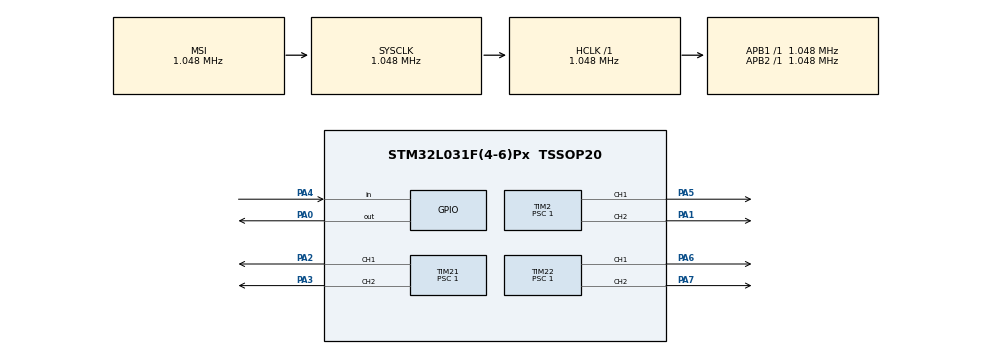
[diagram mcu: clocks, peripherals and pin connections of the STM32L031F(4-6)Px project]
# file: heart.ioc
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FREERTOS.HEAP_NUMBER=1
FREERTOS.INCLUDE_uxTaskGetStackHighWaterMark=1
FREERTOS.MEMORY_ALLOCATION=0
FREERTOS.Tasks01=button,0,64,buttonTask,Default,NULL,Dynamic,NULL,NULL;patternManager,1,64,patternManagerTask,Default,NULL,Dynamic,NULL,NULL;pattern1,0,64,pattern1Task,Default,NULL,Dynamic,NULL,NULL;pattern2,0,64,pattern2Task,Default,NULL,Dynamic,NULL,NULL;pattern3,0,64,pattern3Task,Default,NULL,Dynamic,NULL,NULL
FREERTOS.configMINIMAL_STACK_SIZE=64
FREERTOS.configTOTAL_HEAP_SIZE=3072
Mcu.Family=STM32L0
Mcu.Name=STM32L031F(4-6)Px
Mcu.Package=TSSOP20
PA0-CK_IN.Signal=GPIO_Output
PA1.Signal=S_TIM2_CH2
PA13.Mode=Serial_Wire
PA13.Signal=SYS_SWDIO
PA14.Mode=Serial_Wire
PA14.Signal=SYS_SWCLK
PA2.Signal=S_TIM21_CH1
PA3.Signal=S_TIM21_CH2
PA4.GPIO_PuPd=GPIO_PULLUP
PA4.Signal=GPIO_Input
PA5.Signal=S_TIM2_CH1
PA6.Signal=S_TIM22_CH1
PA7.Signal=S_TIM22_CH2
ProjectManager.HeapSize=0x200
ProjectManager.StackSize=0x400
ProjectManager.TargetToolchain=SW4STM32
RCC.AHBFreq_Value=1048000
RCC.APB1Freq_Value=1048000
RCC.APB1TimFreq_Value=1048000
RCC.APB2Freq_Value=1048000
RCC.APB2TimFreq_Value=1048000
RCC.HCLKFreq_Value=1048000
RCC.HSE_VALUE=8000000
RCC.HSI16_VALUE=16000000
RCC.HSI_VALUE=16000000
RCC.LSE_VALUE=32768
RCC.MSIClockRange=RCC_MSIRANGE_4
RCC.MSI_VALUE=1048000
RCC.SYSCLKFreq_VALUE=1048000
RCC.VCOOutputFreq_Value=48000000
SH.S_TIM21_CH1.0=TIM21_CH1,PWM Generation1 CH1
SH.S_TIM21_CH2.0=TIM21_CH2,PWM Generation2 CH2
SH.S_TIM22_CH1.0=TIM22_CH1,PWM Generation1 CH1
SH.S_TIM22_CH2.0=TIM22_CH2,PWM Generation2 CH2
SH.S_TIM2_CH1.0=TIM2_CH1,PWM Generation1 CH1
SH.S_TIM2_CH2.0=TIM2_CH2,PWM Generation2 CH2
TIM2.Channel-PWM\ Generation1\ CH1=TIM_CHANNEL_1
TIM2.Channel-PWM\ Generation2\ CH2=TIM_CHANNEL_2
TIM2.Period=255
TIM2.Prescaler=1
TIM2.Pulse-PWM\ Generation1\ CH1=64
TIM2.Pulse-PWM\ Generation2\ CH2=64
TIM21.Channel-PWM\ Generation1\ CH1=TIM_CHANNEL_1
TIM21.Channel-PWM\ Generation2\ CH2=TIM_CHANNEL_2
TIM21.Period=255
TIM21.Prescaler=1
TIM21.Pulse-PWM\ Generation1\ CH1=64
TIM21.Pulse-PWM\ Generation2\ CH2=64
TIM22.Channel-PWM\ Generation1\ CH1=TIM_CHANNEL_1
TIM22.Channel-PWM\ Generation2\ CH2=TIM_CHANNEL_2
TIM22.Period=255
TIM22.Prescaler=1
TIM22.Pulse-PWM\ Generation1\ CH1=64
TIM22.Pulse-PWM\ Generation2\ CH2=64
VP_FREERTOS_VS_ENABLE.Mode=Enabled
board=heart

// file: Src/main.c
/**
  ******************************************************************************
  * @file           : main.c
  * @brief          : Main program body
  ******************************************************************************
  * This notice applies to any and all portions of this file
  * that are not between comment pairs USER CODE BEGIN and
  * USER CODE END. Other portions of this file, whether
  * inserted by the user or by software development tools
  * are owned by their respective copyright owners.
  *
  * Copyright (c) 2018 STMicroelectronics International N.V.
  * All rights reserved.
  *
  * Redistribution and use in source and binary forms, with or without
  * modification, are permitted, provided that the following conditions are met:
  *
  * 1. Redistribution of source code must retain the above copyright notice,
  *    this list of conditions and the following disclaimer.
  * 2. Redistributions in binary form must reproduce the above copyright notice,
  *    this list of conditions and the following disclaimer in the documentation
  *    and/or other materials provided with the distribution.
  * 3. Neither the name of STMicroelectronics nor the names of other
  *    contributors to this software may be used to endorse or promote products
  *    derived from this software without specific written permission.
  * 4. This software, including modifications and/or derivative works of this
  *    software, must execute solely and exclusively on microcontroller or
  *    microprocessor devices manufactured by or for STMicroelectronics.
  * 5. Redistribution and use of this software other than as permitted under
  *    this license is void and will automatically terminate your rights under
  *    this license.
  *
  * THIS SOFTWARE IS PROVIDED BY STMICROELECTRONICS AND CONTRIBUTORS "AS IS"
  * AND ANY EXPRESS, IMPLIED OR STATUTORY WARRANTIES, INCLUDING, BUT NOT
  * LIMITED TO, THE IMPLIED WARRANTIES OF MERCHANTABILITY, FITNESS FOR A
  * PARTICULAR PURPOSE AND NON-INFRINGEMENT OF THIRD PARTY INTELLECTUAL PROPERTY
  * RIGHTS ARE DISCLAIMED TO THE FULLEST EXTENT PERMITTED BY LAW. IN NO EVENT
  * SHALL STMICROELECTRONICS OR CONTRIBUTORS BE LIABLE FOR ANY DIRECT, INDIRECT,
  * INCIDENTAL, SPECIAL, EXEMPLARY, OR CONSEQUENTIAL DAMAGES (INCLUDING, BUT NOT
  * LIMITED TO, PROCUREMENT OF SUBSTITUTE GOODS OR SERVICES; LOSS OF USE, DATA,
  * OR PROFITS; OR BUSINESS INTERRUPTION) HOWEVER CAUSED AND ON ANY THEORY OF
  * LIABILITY, WHETHER IN CONTRACT, STRICT LIABILITY, OR TORT (INCLUDING
  * NEGLIGENCE OR OTHERWISE) ARISING IN ANY WAY OUT OF THE USE OF THIS SOFTWARE,
  * EVEN IF ADVISED OF THE POSSIBILITY OF SUCH DAMAGE.
  *
  ******************************************************************************
  */
#include "main.h"
#include "stm32l0xx_hal.h"
#include "cmsis_os.h"
#include "tim.h"
#include "gpio.h"

/* USER CODE BEGIN PV */
/* Private variables ---------------------------------------------------------*/

/* USER CODE END PV */

void SystemClock_Config(void);
void MX_FREERTOS_Init(void);

/* USER CODE BEGIN PFP */
/* Private function prototypes -----------------------------------------------*/

/* USER CODE END PFP */

int main(void)
{

  /* MCU Configuration----------------------------------------------------------*/

  /* Reset of all peripherals, Initializes the Flash interface and the Systick. */
  HAL_Init();

  /* Configure the system clock */
  SystemClock_Config();

  /* Initialize all configured peripherals */
  MX_GPIO_Init();
  MX_TIM2_Init();
  MX_TIM21_Init();
  MX_TIM22_Init();
  /* USER CODE BEGIN 2 */

    /* Initialise all the PWM timers */
  HAL_TIM_PWM_Start(&htim2, TIM_CHANNEL_1);
  HAL_TIM_PWM_Start(&htim2, TIM_CHANNEL_2);
  HAL_TIM_PWM_Start(&htim2, TIM_CHANNEL_3);
  HAL_TIM_PWM_Start(&htim21, TIM_CHANNEL_1);
  HAL_TIM_PWM_Start(&htim21, TIM_CHANNEL_2);
  HAL_TIM_PWM_Start(&htim22, TIM_CHANNEL_1);
  HAL_TIM_PWM_Start(&htim22, TIM_CHANNEL_2);

  /* USER CODE END 2 */

  /* Call init function for freertos objects (in freertos.c) */
  MX_FREERTOS_Init();

  /* Start scheduler */
  osKernelStart();

  /* We should never get here as control is now taken by the scheduler */

  /* Infinite loop */
  while (1)
  {

  }

}

void SystemClock_Config(void)
{

  RCC_OscInitTypeDef RCC_OscInitStruct;
  RCC_ClkInitTypeDef RCC_ClkInitStruct;

    /**Configure the main internal regulator output voltage
    */
  __HAL_PWR_VOLTAGESCALING_CONFIG(PWR_REGULATOR_VOLTAGE_SCALE1);

    /**Initializes the CPU, AHB and APB busses clocks
    */
  RCC_OscInitStruct.OscillatorType = RCC_OSCILLATORTYPE_MSI;
  RCC_OscInitStruct.MSIState = RCC_MSI_ON;
  RCC_OscInitStruct.MSICalibrationValue = 0;
  RCC_OscInitStruct.MSIClockRange = RCC_MSIRANGE_4;
  RCC_OscInitStruct.PLL.PLLState = RCC_PLL_NONE;
  if (HAL_RCC_OscConfig(&RCC_OscInitStruct) != HAL_OK)
  {
    _Error_Handler(__FILE__, __LINE__);
  }

    /**Initializes the CPU, AHB and APB busses clocks
    */
  RCC_ClkInitStruct.ClockType = RCC_CLOCKTYPE_HCLK|RCC_CLOCKTYPE_SYSCLK
                              |RCC_CLOCKTYPE_PCLK1|RCC_CLOCKTYPE_PCLK2;
  RCC_ClkInitStruct.SYSCLKSource = RCC_SYSCLKSOURCE_MSI;
  RCC_ClkInitStruct.AHBCLKDivider = RCC_SYSCLK_DIV1;
  RCC_ClkInitStruct.APB1CLKDivider = RCC_HCLK_DIV1;
  RCC_ClkInitStruct.APB2CLKDivider = RCC_HCLK_DIV1;

  if (HAL_RCC_ClockConfig(&RCC_ClkInitStruct, FLASH_LATENCY_0) != HAL_OK)
  {
    _Error_Handler(__FILE__, __LINE__);
  }

    /**Configure the Systick interrupt time
    */
  HAL_SYSTICK_Config(HAL_RCC_GetHCLKFreq()/1000);

    /**Configure the Systick
    */
  HAL_SYSTICK_CLKSourceConfig(SYSTICK_CLKSOURCE_HCLK);

  /* SysTick_IRQn interrupt configuration */
  HAL_NVIC_SetPriority(SysTick_IRQn, 3, 0);
}

void _Error_Handler(char *file, int line)
{
  while(1)
  {
  }
}

/************************ (C) COPYRIGHT STMicroelectronics *****END OF FILE****/

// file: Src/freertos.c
/**
  ******************************************************************************
  * File Name          : freertos.c
  * Description        : Code for freertos applications
  ******************************************************************************
  * This notice applies to any and all portions of this file
  * that are not between comment pairs USER CODE BEGIN and
  * USER CODE END. Other portions of this file, whether
  * inserted by the user or by software development tools
  * are owned by their respective copyright owners.
  *
  * Copyright (c) 2018 STMicroelectronics International N.V.
  * All rights reserved.
  *
  * Redistribution and use in source and binary forms, with or without
  * modification, are permitted, provided that the following conditions are met:
  *
  * 1. Redistribution of source code must retain the above copyright notice,
  *    this list of conditions and the following disclaimer.
  * 2. Redistributions in binary form must reproduce the above copyright notice,
  *    this list of conditions and the following disclaimer in the documentation
  *    and/or other materials provided with the distribution.
  * 3. Neither the name of STMicroelectronics nor the names of other
  *    contributors to this software may be used to endorse or promote products
  *    derived from this software without specific written permission.
  * 4. This software, including modifications and/or derivative works of this
  *    software, must execute solely and exclusively on microcontroller or
  *    microprocessor devices manufactured by or for STMicroelectronics.
  * 5. Redistribution and use of this software other than as permitted under
  *    this license is void and will automatically terminate your rights under
  *    this license.
  *
  * THIS SOFTWARE IS PROVIDED BY STMICROELECTRONICS AND CONTRIBUTORS "AS IS"
  * AND ANY EXPRESS, IMPLIED OR STATUTORY WARRANTIES, INCLUDING, BUT NOT
  * LIMITED TO, THE IMPLIED WARRANTIES OF MERCHANTABILITY, FITNESS FOR A
  * PARTICULAR PURPOSE AND NON-INFRINGEMENT OF THIRD PARTY INTELLECTUAL PROPERTY
  * RIGHTS ARE DISCLAIMED TO THE FULLEST EXTENT PERMITTED BY LAW. IN NO EVENT
  * SHALL STMICROELECTRONICS OR CONTRIBUTORS BE LIABLE FOR ANY DIRECT, INDIRECT,
  * INCIDENTAL, SPECIAL, EXEMPLARY, OR CONSEQUENTIAL DAMAGES (INCLUDING, BUT NOT
  * LIMITED TO, PROCUREMENT OF SUBSTITUTE GOODS OR SERVICES; LOSS OF USE, DATA,
  * OR PROFITS; OR BUSINESS INTERRUPTION) HOWEVER CAUSED AND ON ANY THEORY OF
  * LIABILITY, WHETHER IN CONTRACT, STRICT LIABILITY, OR TORT (INCLUDING
  * NEGLIGENCE OR OTHERWISE) ARISING IN ANY WAY OUT OF THE USE OF THIS SOFTWARE,
  * EVEN IF ADVISED OF THE POSSIBILITY OF SUCH DAMAGE.
  *
  ******************************************************************************
  */

#include "FreeRTOS.h"
#include "task.h"
#include "cmsis_os.h"

/* USER CODE BEGIN Includes */
#include "gpio.h"
#include "tim.h"
#include "main.h"
#include <stdbool.h>
#include "eeprom.h"

#define EV_PRESSED_BIT ( 1 << 0 )
/* Pattern bits in the group event, allows for 7 patterns. */
#define EV_PATTERN_BIT_1 ( 1 << 1 )
#define EV_PATTERN_BIT_2 ( 1 << 2 )
#define EV_PATTERN_BIT_3 ( 1 << 3 )
#define EV_PATTERN_CHANGE_BIT ( 1 << 4 )
/* The above bits that define the pattern */
#define PATTERN_BIT_MASK 0b0001110

/* USER CODE END Includes */

osThreadId buttonHandle;
osThreadId patternManagerHandle;
osThreadId pattern1Handle;
osThreadId pattern2Handle;
osThreadId pattern3Handle;

/* USER CODE BEGIN Variables */

TaskHandle_t current_pattern;

/* Declare a variable to hold the handle of the created event group. */
EventGroupHandle_t xEventGroupHandle;

  /* Sine wave table */
  const uint8_t sine_wave[256] = {
    0x80, 0x83, 0x86, 0x89, 0x8C, 0x90, 0x93, 0x96,
    0x99, 0x9C, 0x9F, 0xA2, 0xA5, 0xA8, 0xAB, 0xAE,
    0xB1, 0xB3, 0xB6, 0xB9, 0xBC, 0xBF, 0xC1, 0xC4,
    0xC7, 0xC9, 0xCC, 0xCE, 0xD1, 0xD3, 0xD5, 0xD8,
    0xDA, 0xDC, 0xDE, 0xE0, 0xE2, 0xE4, 0xE6, 0xE8,
    0xEA, 0xEB, 0xED, 0xEF, 0xF0, 0xF1, 0xF3, 0xF4,
    0xF5, 0xF6, 0xF8, 0xF9, 0xFA, 0xFA, 0xFB, 0xFC,
    0xFD, 0xFD, 0xFE, 0xFE, 0xFE, 0xFF, 0xFF, 0xFF,
    0xFF, 0xFF, 0xFF, 0xFF, 0xFE, 0xFE, 0xFE, 0xFD,
    0xFD, 0xFC, 0xFB, 0xFA, 0xFA, 0xF9, 0xF8, 0xF6,
    0xF5, 0xF4, 0xF3, 0xF1, 0xF0, 0xEF, 0xED, 0xEB,
    0xEA, 0xE8, 0xE6, 0xE4, 0xE2, 0xE0, 0xDE, 0xDC,
    0xDA, 0xD8, 0xD5, 0xD3, 0xD1, 0xCE, 0xCC, 0xC9,
    0xC7, 0xC4, 0xC1, 0xBF, 0xBC, 0xB9, 0xB6, 0xB3,
    0xB1, 0xAE, 0xAB, 0xA8, 0xA5, 0xA2, 0x9F, 0x9C,
    0x99, 0x96, 0x93, 0x90, 0x8C, 0x89, 0x86, 0x83,
    0x80, 0x7D, 0x7A, 0x77, 0x74, 0x70, 0x6D, 0x6A,
    0x67, 0x64, 0x61, 0x5E, 0x5B, 0x58, 0x55, 0x52,
    0x4F, 0x4D, 0x4A, 0x47, 0x44, 0x41, 0x3F, 0x3C,
    0x39, 0x37, 0x34, 0x32, 0x2F, 0x2D, 0x2B, 0x28,
    0x26, 0x24, 0x22, 0x20, 0x1E, 0x1C, 0x1A, 0x18,
    0x16, 0x15, 0x13, 0x11, 0x10, 0x0F, 0x0D, 0x0C,
    0x0B, 0x0A, 0x08, 0x07, 0x06, 0x06, 0x05, 0x04,
    0x03, 0x03, 0x02, 0x02, 0x02, 0x01, 0x01, 0x01,
    0x01, 0x01, 0x01, 0x01, 0x02, 0x02, 0x02, 0x03,
    0x03, 0x04, 0x05, 0x06, 0x06, 0x07, 0x08, 0x0A,
    0x0B, 0x0C, 0x0D, 0x0F, 0x10, 0x11, 0x13, 0x15,
    0x16, 0x18, 0x1A, 0x1C, 0x1E, 0x20, 0x22, 0x24,
    0x26, 0x28, 0x2B, 0x2D, 0x2F, 0x32, 0x34, 0x37,
    0x39, 0x3C, 0x3F, 0x41, 0x44, 0x47, 0x4A, 0x4D,
    0x4F, 0x52, 0x55, 0x58, 0x5B, 0x5E, 0x61, 0x64,
    0x67, 0x6A, 0x6D, 0x70, 0x74, 0x77, 0x7A, 0x7D
  };

/* USER CODE END Variables */

void buttonTask(void const * argument);
void patternManagerTask(void const * argument);
TaskHandle_t patternSelect(uint8_t pattern);
void pattern1Task(void const * argument);
void pattern2Task(void const * argument);
void pattern3Task(void const * argument);

void MX_FREERTOS_Init(void); /* (MISRA C 2004 rule 8.1) */

/* USER CODE BEGIN FunctionPrototypes */
bool buttonPressed(void);

/* USER CODE END FunctionPrototypes */

/* Hook prototypes */

/* Init FreeRTOS */

void MX_FREERTOS_Init(void) {
  /* USER CODE BEGIN Init */

  /* Attempt to create the event group. */
  xEventGroupHandle = xEventGroupCreate();

  /* USER CODE END Init */

  /* Create the thread(s) */
  /* definition and creation of button */
  osThreadDef(button, buttonTask, osPriorityNormal, 0, 64);
  buttonHandle = osThreadCreate(osThread(button), NULL);

  /* definition and creation of patternManager */
  osThreadDef(patternManager, patternManagerTask, osPriorityAboveNormal, 0, 64);
  patternManagerHandle = osThreadCreate(osThread(patternManager), NULL);

  /* definition and creation of pattern1 */
  osThreadDef(pattern1, pattern1Task, osPriorityNormal, 0, 64);
  pattern1Handle = osThreadCreate(osThread(pattern1), NULL);

  /* definition and creation of pattern2 */
  osThreadDef(pattern2, pattern2Task, osPriorityNormal, 0, 64);
  pattern2Handle = osThreadCreate(osThread(pattern2), NULL);

  /* definition and creation of pattern3 */
  osThreadDef(pattern3, pattern3Task, osPriorityNormal, 0, 64);
  pattern3Handle = osThreadCreate(osThread(pattern3), NULL);

}

/* buttonTask function */
void buttonTask(void const * argument)
{

  /* USER CODE BEGIN buttonTask */

  /* Count the button presses up to the number of possible tasks. */
  uint8_t count = 0;
  bool pressed = 0;
  bool button_state = 0;

  for(;;) {
    /* Set / unset the event bit depending on the state of the button */
    pressed = buttonPressed();
    /* Only act on an edge */
    if (button_state != pressed) {
      button_state = pressed;
      if (!pressed) {
        /* Clear the pressed bit */
        xEventGroupClearBits(xEventGroupHandle, EV_PRESSED_BIT);
      } else {
        count++;
        if (count > 2) {
         count = 0;
        }

        /* Clear all pattern bits */
        xEventGroupClearBits(xEventGroupHandle, EV_PATTERN_BIT_3 | EV_PATTERN_BIT_2 | EV_PATTERN_BIT_1);
        switch (count) {
          case 1:
            xEventGroupSetBits(xEventGroupHandle, EV_PATTERN_CHANGE_BIT | EV_PATTERN_BIT_2 | EV_PRESSED_BIT);
            break;
          case 2:
            xEventGroupSetBits(xEventGroupHandle, EV_PATTERN_CHANGE_BIT | EV_PATTERN_BIT_2 | EV_PATTERN_BIT_1 | EV_PRESSED_BIT);
            break;
          default:
            /* Use the default */
            xEventGroupSetBits(xEventGroupHandle, EV_PATTERN_CHANGE_BIT | EV_PATTERN_BIT_1 | EV_PRESSED_BIT);
            break;
        }
      }
    }

    /* Kludge to start the pattern going */
    vTaskResume( current_pattern );

    osDelay(20);
  }
  /* USER CODE END buttonTask */
}

/* patternManagerTask function */
void patternManagerTask(void const * argument)
{
  /* USER CODE BEGIN patternManagerTask */

  EventBits_t bits;
  uint8_t pattern = (uint8_t) EEPROM_DataLoad(0);
  current_pattern = patternSelect(pattern);

  /* Infinite loop */
  for(;;) {
    /* Wait for the change pattern bit, then clear it */
    bits = xEventGroupWaitBits(
            xEventGroupHandle,
            EV_PATTERN_CHANGE_BIT,
            pdTRUE,
            pdTRUE,
            portMAX_DELAY );

    /* Show when a pattern change is happening */
    HAL_GPIO_TogglePin(GPIOA, GPIO_PIN_0);

    /* Select the new pattern */
    uint8_t pattern = (bits & PATTERN_BIT_MASK) >> 1;
    /* Remember the pattern when off */
    EEPROM_DataSave(0, pattern);
    /* Stop the current pattern */
    vTaskSuspend( current_pattern );
    current_pattern = patternSelect(pattern);
    /* Start the selected one */
    vTaskResume( current_pattern );
  }
  /* USER CODE END patternManagerTask */
}

/* pattern1Task function */
void pattern1Task(void const * argument)
{
  /* USER CODE BEGIN pattern1Task */
  /* Index of the sine table */
  uint8_t sine_index = 0;
  uint8_t sine_index_b = 127;

  /* Wait until called */
  vTaskSuspend( NULL );

  /*
   * Fade all the leds
   */
  for(;;) {
    // PA1     ------> TIM2_CH2
    /* The bottom led */
    htim2.Instance->CCR2 = sine_wave[sine_index];
    // PA2     ------> TIM21_CH1
    /* The centre led */
    htim21.Instance->CCR1 = sine_wave[sine_index_b];
    // PA3     ------> TIM21_CH2
    /* Middle left */
    htim21.Instance->CCR2 = sine_wave[sine_index];
    // PA5     ------> TIM2_CH1
    /* Middle right */
    htim2.Instance->CCR1 = sine_wave[sine_index];
    // PA6     ------> TIM22_CH1
    /* Top left */
    htim22.Instance->CCR1 = sine_wave[sine_index];
    // PA7     ------> TIM22_CH2
    /* Top right */
    htim22.Instance->CCR2 = sine_wave[sine_index];

    // Increment and let overflow back to 0.
    sine_index++;
    sine_index_b++;

    /* Fade */
    osDelay(20);
  }
  /* USER CODE END pattern1Task */
}

/* pattern2Task function */
void pattern2Task(void const * argument)
{
  /* USER CODE BEGIN pattern2Task */
  /* Index of the sine table */
  uint8_t sine_index_1 = 0;
  uint8_t sine_index_2 = 42;
  uint8_t sine_index_3 = 84;
  uint8_t sine_index_4 = 126;
  uint8_t sine_index_5 = 168;

  /* Wait until called */
  vTaskSuspend( NULL );

  /*
   * Fade all the leds slowly
   */
  for(;;) {
    // PA1     ------> TIM2_CH2
    /* The bottom led */
    htim2.Instance->CCR2 = sine_wave[sine_index_1];
    // PA2     ------> TIM21_CH1
    /* The centre led */
    htim21.Instance->CCR1 = 255;
    // PA3     ------> TIM21_CH2
    /* Middle left */
    htim21.Instance->CCR2 = sine_wave[sine_index_5];
    // PA5     ------> TIM2_CH1
    /* Middle right */
    htim2.Instance->CCR1 = sine_wave[sine_index_2];
    // PA6     ------> TIM22_CH1
    /* Top left */
    htim22.Instance->CCR1 = sine_wave[sine_index_4];
    // PA7     ------> TIM22_CH2
    /* Top right */
    htim22.Instance->CCR2 = sine_wave[sine_index_3];

    // Increment and let overflow back to 0.
    //sine_index++;
    sine_index_1++;
    sine_index_2++;
    sine_index_3++;
    sine_index_4++;
    sine_index_5++;

    osDelay(15);

  }
  /* USER CODE END pattern2Task */
}

/* pattern3Task function */
void pattern3Task(void const * argument)
{
  /* USER CODE BEGIN pattern3Task */
  /* Wait until called */
  vTaskSuspend( NULL );

  /* Solid on */
  for(;;) {
    // PA1     ------> TIM2_CH2
    htim2.Instance->CCR2 = 127;
    // PA2     ------> TIM21_CH1
    htim21.Instance->CCR1 = 127;
    // PA3     ------> TIM21_CH2
    htim21.Instance->CCR2 = 127;
    // PA5     ------> TIM2_CH1
    htim2.Instance->CCR1 = 127;
    // PA6     ------> TIM22_CH1
    htim22.Instance->CCR1 = 127;
    // PA7     ------> TIM22_CH2
    htim22.Instance->CCR2 = 127;

    /* No need to come back, nothing changes */
    osDelay(10000);
  }
  /* USER CODE END pattern3Task */
}

/* USER CODE BEGIN Application */

TaskHandle_t patternSelect(uint8_t pattern) {
  /* Current pattern based on the number of button presses */
  switch (pattern) {
    case 2: return pattern2Handle;
    case 3: return pattern3Handle;
    default: return pattern1Handle;
  }
}

/**
 * State machine to monitor whether the buton is pressed.
 */
bool buttonPressed(void) {
  enum button_state {BST_RELEASED, BST_MAYBE_PRESSED, BST_PRESSED, BST_MAYBE_RELEASED};

  static bool pressed = false;
  static enum button_state state = BST_RELEASED;

  /* Button pulled high when not pressed */
  GPIO_PinState button = HAL_GPIO_ReadPin(GPIOA, GPIO_PIN_4);

  /* Debounce */
  switch (state) {
    case BST_RELEASED:
      if (button == GPIO_PIN_RESET) {
        state = BST_MAYBE_PRESSED;
      }
      break;
    case BST_MAYBE_PRESSED:
      if (button == GPIO_PIN_RESET) {
        state = BST_PRESSED;
        pressed = true;
      } else {
        /* Not pressed, just a bounce */
        state = BST_RELEASED;
      }
      break;
    case BST_PRESSED:
      if (button == GPIO_PIN_SET) {
        state = BST_MAYBE_RELEASED;
      }
      break;
    case BST_MAYBE_RELEASED:
      if (button == GPIO_PIN_SET) {
        state = BST_RELEASED;
        pressed = false;
      } else {
        /* Just a bounce */
        state = BST_PRESSED;
      }
      break;
  }

  return pressed;
}

/* USER CODE END Application */

/************************ (C) COPYRIGHT STMicroelectronics *****END OF FILE****/
